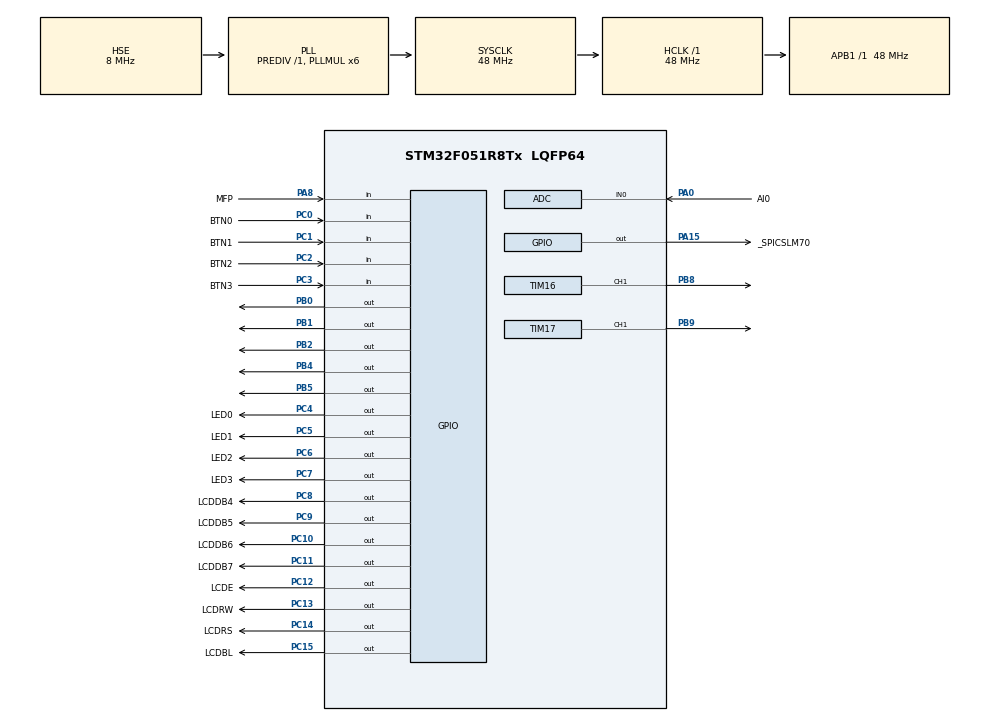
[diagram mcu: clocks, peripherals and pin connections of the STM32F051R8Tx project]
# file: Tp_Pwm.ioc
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Mcu.Family=STM32F0
Mcu.Name=STM32F051R8Tx
Mcu.Package=LQFP64
PA0.GPIO_Label=AI0
PA0.Mode=IN0
PA0.Signal=ADC_IN0
PA10.GPIO_Label=USART1RX
PA10.Signal=USART1_RX
PA11.GPIO_Label=USART1CTS
PA11.Signal=USART1_CTS
PA12.GPIO_Label=USART1RTS
PA12.Signal=USART1_RTS
PA13.Mode=Serial_Wire
PA13.Signal=SYS_SWDIO
PA14.Mode=Serial_Wire
PA14.Signal=SYS_SWCLK
PA15.GPIO_Label=_SPICSLM70
PA15.PinState=GPIO_PIN_SET
PA15.Signal=GPIO_Output
PA5.GPIO_Label=SPISCK
PA5.Signal=SPI1_SCK
PA6.GPIO_Label=SPIMISO
PA6.Signal=SPI1_MISO
PA7.GPIO_Label=SPIMOSI
PA7.Signal=SPI1_MOSI
PA8.GPIO_Label=MFP
PA8.Signal=GPIO_Input
PA9.GPIO_Label=USART1TX
PA9.Signal=USART1_TX
PB0.Signal=GPIO_Output
PB1.Signal=GPIO_Output
PB2.Signal=GPIO_Output
PB4.Signal=GPIO_Output
PB5.Signal=GPIO_Output
PB8.Signal=S_TIM16_CH1
PB9.Signal=S_TIM17_CH1
PC0.GPIO_Label=BTN0
PC0.Signal=GPIO_Input
PC1.GPIO_Label=BTN1
PC1.Signal=GPIO_Input
PC10.GPIO_Label=LCDDB6
PC10.Signal=GPIO_Output
PC11.GPIO_Label=LCDDB7
PC11.Signal=GPIO_Output
PC12.GPIO_Label=LCDE
PC12.Signal=GPIO_Output
PC13.GPIO_Label=LCDRW
PC13.Signal=GPIO_Output
PC14-OSC32_IN.GPIO_Label=LCDRS
PC14-OSC32_IN.Signal=GPIO_Output
PC15-OSC32_OUT.GPIO_Label=LCDBL
PC15-OSC32_OUT.Signal=GPIO_Output
PC2.GPIO_Label=BTN2
PC2.Signal=GPIO_Input
PC3.GPIO_Label=BTN3
PC3.Signal=GPIO_Input
PC4.GPIO_Label=LED0
PC4.PinState=GPIO_PIN_SET
PC4.Signal=GPIO_Output
PC5.GPIO_Label=LED1
PC5.PinState=GPIO_PIN_SET
PC5.Signal=GPIO_Output
PC6.GPIO_Label=LED2
PC6.PinState=GPIO_PIN_SET
PC6.Signal=GPIO_Output
PC7.GPIO_Label=LED3
PC7.PinState=GPIO_PIN_SET
PC7.Signal=GPIO_Output
PC8.GPIO_Label=LCDDB4
PC8.Signal=GPIO_Output
PC9.GPIO_Label=LCDDB5
PC9.Signal=GPIO_Output
PF0-OSC_IN.GPIO_Label=OSCIN
PF0-OSC_IN.Mode=HSE-External-Oscillator
PF0-OSC_IN.Signal=RCC_OSC_IN
PF1-OSC_OUT.GPIO_Label=OSCOUT
PF1-OSC_OUT.Mode=HSE-External-Oscillator
PF1-OSC_OUT.Signal=RCC_OSC_OUT
PF6.Signal=I2C2_SCL
PF7.Signal=I2C2_SDA
ProjectManager.HeapSize=0x200
ProjectManager.StackSize=0x400
ProjectManager.TargetToolchain=MDK-ARM V5
RCC.AHBFreq_Value=48000000
RCC.APB1Freq_Value=48000000
RCC.APB1TimFreq_Value=48000000
RCC.EnbaleCSS=true
RCC.HCLKFreq_Value=48000000
RCC.PLLMUL=RCC_PLL_MUL6
RCC.PLLSourceVirtual=RCC_PLLSOURCE_HSE
RCC.SYSCLKFreq_VALUE=48000000
RCC.SYSCLKSource=RCC_SYSCLKSOURCE_PLLCLK
SH.S_TIM16_CH1.0=TIM16_CH1,PWM Generation1 CH1
SH.S_TIM17_CH1.0=TIM17_CH1,PWM Generation1 CH1
TIM16.Channel=TIM_CHANNEL_1
TIM16.Period=299
TIM16.Prescaler=431
TIM17.Channel=TIM_CHANNEL_1
TIM17.Period=299
TIM17.Prescaler=431
TIM6.Period=999
TIM6.Prescaler=47
VP_TIM16_VS_ClockSourceINT.Mode=Enable_Timer
VP_TIM17_VS_ClockSourceINT.Mode=Enable_Timer
VP_TIM6_VS_ClockSourceINT.Mode=Enable_Timer
board=test01_blink

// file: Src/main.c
/* USER CODE BEGIN Header */
/**
  ******************************************************************************
  * @file           : main.c
  * @brief          : Main program body
  ******************************************************************************
  * @attention
  *
  * <h2><center>&copy; Copyright (c) 2020 STMicroelectronics.
  * All rights reserved.</center></h2>
  *
  * This software component is licensed by ST under BSD 3-Clause license,
  * the "License"; You may not use this file except in compliance with the
  * License. You may obtain a copy of the License at:
  *                        opensource.org/licenses/BSD-3-Clause
  * Date: 07.05.25
	* Auther: Henri Mott
	* Date modif�: 07.05.25
	*
  ******************************************************************************
  */
/* USER CODE END Header */
#include "main.h"
#include "adc.h"
#include "tim.h"
#include "gpio.h"

/* USER CODE BEGIN Includes */

#include "17400.h"
#include "stm32delays.h"
#include "stm32driverlcd.h"

/* USER CODE END Includes */

/* USER CODE BEGIN PV */
uint32_t led_counter = 0;  // Counter for LED blinking
uint8_t motor_direction = 0;  // 0 = forward, 1 = reverse
uint8_t motor_enabled = 0;    // 0 = disabled, 1 = enabled
/* USER CODE END PV */

void SystemClock_Config(void);
/* USER CODE BEGIN PFP */
//void motor_enable(void);
//void motor_set_direction(uint8_t direction);
//void motor_control(uint8_t Btn1, uint8_t Btn1_old, uint8_t Btn2, uint8_t Btn2_old);
uint8_t calculate_pwm_percentage(uint16_t adc_value);
/* USER CODE END PFP */

/* USER CODE BEGIN 0 */

// Timer 6 period elapsed callback
void HAL_TIM_PeriodElapsedCallback(TIM_HandleTypeDef *htim)
{
    if (htim->Instance == TIM6)
    {
        led_counter++;
        if(led_counter >= 500)  // Toggle every 500ms for visible blinking
        {
            HAL_GPIO_TogglePin(LED0_PORT, LED0_BIT);
            led_counter = 0;
        }
    }
}

// *** ADC ***
//**************************************************************
// Description : Lecture AD
// Paramètres d'entrée :
// N° du canal à lire
// Paramètres de sortie :
// Valeure lue en LSB
//**************************************************************
// Lecture d'un canal AD par polling
// Il faut auparavant avoir configur� la/les pin(s) concern�e(s) en entr�e analogique
uint16_t Adc_read(uint8_t chNr)
{
	  uint16_t ValRetour;
		hadc.Instance->CHSELR = ADC_CHSELR_CHANNEL(chNr);

		HAL_ADC_Start(&hadc);
		HAL_ADC_PollForConversion(&hadc, HAL_MAX_DELAY);
		ValRetour = HAL_ADC_GetValue(&hadc);
		HAL_ADC_Stop(&hadc);
		return(ValRetour);
}

// ----------------------------------------------------------------

// ----------------------------------------------------------------
	// *** A COMPLETER ! ***
	// Mettez vos fonctions ici...

// ----------------------------------------------------------------

/* USER CODE END 0 */

int main(void)
{
  /* USER CODE BEGIN 1 */
	//variables
	// *** A COMPLETER ! ***
	uint8_t duty_cycle = 200;  // Set to 150 for a more visible PWM (50%)

	// Variables for button states
	uint8_t Btn0;           // Current state of button 0
	uint8_t Btn0_Old;       // Previous state of button 0
	uint8_t Btn1;           // Current state of button 1
	uint8_t Btn1_Old;       // Previous state of button 1
	uint8_t Btn2;           // Current state of button 2
	uint8_t Btn2_Old;       // Previous state of button 2
	uint8_t Btn3;           // Current state of button 2
	uint8_t Btn3_Old;       // Previous state of button 2
	uint8_t fine_mode;			// For the mode of incrementation
	uint16_t current_angle = 0;
	uint16_t pwm_value = 0;
//	uint8_t current_angle = 0;
//	uint8_t pwm_value = 0;
	uint8_t Max_angle = 90;
	// *** A COMPLETER ! ***

  /* USER CODE END 1 */

  /* MCU Configuration--------------------------------------------------------*/

  /* Reset of all peripherals, Initializes the Flash interface and the Systick. */
  HAL_Init();

  /* Configure the system clock */
  SystemClock_Config();

  /* Initialize all configured peripherals */
  MX_GPIO_Init();
  MX_TIM6_Init();
  MX_TIM16_Init();
  MX_ADC_Init();
  MX_TIM17_Init();
  /* USER CODE BEGIN 2 */
	lcd_init();
	// Start timers
	HAL_TIM_Base_Start_IT(&htim6);  //Start Timer 6 for LED blinking
	HAL_TIM_PWM_Start(&htim16, TIM_CHANNEL_1); //Start Timer 16 PWM on PB8
	HAL_TIM_PWM_Start(&htim17, TIM_CHANNEL_1); //Start Timer 16 PWM on PB8

  /* USER CODE END 2 */

  /* Infinite loop */
  while (1)
  {

    /* USER CODE BEGIN 3 */
		//lcd_b1_on();

		// Read current button states
		Btn0 = HAL_GPIO_ReadPin(BTN0_PORT, BTN0_BIT);
		Btn1 = HAL_GPIO_ReadPin(BTN1_PORT, BTN1_BIT);
		Btn2 = HAL_GPIO_ReadPin(BTN2_PORT, BTN2_BIT);
		Btn3 = HAL_GPIO_ReadPin(BTN3_PORT, BTN3_BIT);

		__HAL_TIM_SET_COMPARE(&htim16, TIM_CHANNEL_1, duty_cycle);  // Set PWM duty cycle for motor
		//__HAL_TIM_SET_COMPARE(&htim17, TIM_CHANNEL_1, duty_cycle);  // Set PWM duty cycle for servo

		// Partie ADC
		uint16_t adc_value = Adc_read(0);  // Reads the direct value of are ADC
		//duty_cycle = scale_adc_to_servo(adc_value);  // Scale ADC to servo range
		uint8_t pwm_percentage = calculate_pwm_percentage(adc_value);

		// ---Partie pour le servo--- //
		// Btn1 décrémente l’angle
    if((Btn0 != Btn0_Old) && (Btn0 == 0))  // Button 0 pressed (active low)
    {
			// test what mode we are in
			if(fine_mode == 0)
			{
				fine_mode = 1;
				HAL_GPIO_WritePin(LED0_PORT, LED0_BIT, GPIO_PIN_RESET);	// Turn led 0 on GPIO_PIN_SET GPIO_PIN_RESET
			}
			else
			{
				fine_mode = 0;
				HAL_GPIO_WritePin(LED0_PORT, LED0_BIT, GPIO_PIN_SET);	// Turn led 0 on GPIO_PIN_SET GPIO_PIN_RESET
			}

    }

		// Btn1 décrémente l’angle
    if((Btn1 != Btn1_Old) && (Btn1 == 0))  // Button 1 pressed (active low)
    {
			if((fine_mode == 1) && (current_angle > 0))
			{
					current_angle -= 1;   // Fine mode: 1 degree
			}
			else if(current_angle >= 10)
			{
					current_angle -= 10;  // Coarse mode: 45 degrees
			}
			else
			{
				current_angle = 0;
			}

			// Keep within valid range
//			if(current_angle <= -90)
//			{
//				current_angle = 0;
//			}
    }

		// Btn2 incrémente l’angle
		if((Btn2 != Btn2_Old) && (Btn2 == 0))  // Button 1 pressed (active low)
    {
			if((fine_mode == 1) && (current_angle < Max_angle))
			{
					current_angle += 1;   // Fine mode: 1 degree
			}
			else if(current_angle <= 90)
			{
					current_angle += 10;  // Coarse mode: 45 degrees
			}
			else
			{
				current_angle = 90;
			}
			// Keep within valid range
//			if(current_angle >= Max_angle)
//			{
//				current_angle = Max_angle;
//			}
    }

		// Btn3 remet l’angle à 0°
		if((Btn3 != Btn3_Old) && (Btn3 == 0))  // Button 1 pressed (active low)
    {
					current_angle = 0;  // Coarse mode: 45 degrees
    }

		// Il faut la remetre dans le correct format

		//current_angle = (current_angle * 4095) / 100;
		// Convert angle (-180 to +180) to PWM value (1000 to 2000)s
//    pwm_value = 1500 + (current_angle * 500 / 180);
//
//    __HAL_TIM_SET_COMPARE(&htim17, TIM_CHANNEL_1, pwm_value);
		uint16_t scaled_pwm_value = (pwm_value * htim17.Init.Period) / 2000;
		__HAL_TIM_SET_COMPARE(&htim17, TIM_CHANNEL_1, scaled_pwm_value);

		//lcd_clearLine(1);
		lcd_gotoxy(1,2);
		printf_lcd("pwm_value: %d ", pwm_value);
		lcd_gotoxy(1,1);
		printf_lcd("pwm: %d, CCR1: %d\n", pwm_value, __HAL_TIM_GET_COMPARE(&htim17, TIM_CHANNEL_1));
//		//lcd_clearLine(2);
//		lcd_gotoxy(1,2);
//		printf_lcd("PWM: %d%% ", pwm_percentage);
//		lcd_gotoxy(1,3);
//		printf_lcd("Angle: %d ", current_angle);
		//printf_lcd("Duty: %d ", duty_cycle);
		//lcd_clearLine(1);

		// ---Partie pour le moteur--- //
		// Motor control section
		//motor_control(Btn1, Btn1_Old, Btn2, Btn2_Old);

		// Update previous button states
		Btn0_Old = Btn0;
		Btn1_Old = Btn1;
		Btn2_Old = Btn2;
		Btn3_Old = Btn3;
  }
  /* USER CODE END 3 */
}

void SystemClock_Config(void)
{
  RCC_OscInitTypeDef RCC_OscInitStruct = {0};
  RCC_ClkInitTypeDef RCC_ClkInitStruct = {0};

  /** Initializes the RCC Oscillators according to the specified parameters
  * in the RCC_OscInitTypeDef structure.
  */
  RCC_OscInitStruct.OscillatorType = RCC_OSCILLATORTYPE_HSI14|RCC_OSCILLATORTYPE_HSE;
  RCC_OscInitStruct.HSEState = RCC_HSE_ON;
  RCC_OscInitStruct.HSI14State = RCC_HSI14_ON;
  RCC_OscInitStruct.HSI14CalibrationValue = 16;
  RCC_OscInitStruct.PLL.PLLState = RCC_PLL_ON;
  RCC_OscInitStruct.PLL.PLLSource = RCC_PLLSOURCE_HSE;
  RCC_OscInitStruct.PLL.PLLMUL = RCC_PLL_MUL6;
  RCC_OscInitStruct.PLL.PREDIV = RCC_PREDIV_DIV1;
  if (HAL_RCC_OscConfig(&RCC_OscInitStruct) != HAL_OK)
  {
    Error_Handler();
  }
  /** Initializes the CPU, AHB and APB buses clocks
  */
  RCC_ClkInitStruct.ClockType = RCC_CLOCKTYPE_HCLK|RCC_CLOCKTYPE_SYSCLK
                              |RCC_CLOCKTYPE_PCLK1;
  RCC_ClkInitStruct.SYSCLKSource = RCC_SYSCLKSOURCE_PLLCLK;
  RCC_ClkInitStruct.AHBCLKDivider = RCC_SYSCLK_DIV1;
  RCC_ClkInitStruct.APB1CLKDivider = RCC_HCLK_DIV1;

  if (HAL_RCC_ClockConfig(&RCC_ClkInitStruct, FLASH_LATENCY_1) != HAL_OK)
  {
    Error_Handler();
  }
  /** Enables the Clock Security System
  */
  HAL_RCC_EnableCSS();
}

/* USER CODE BEGIN 4 */

// ----------------------------------------------------------------
// *** Motor Control Functions ***
//void motor_enable(void)
//{
//    if(motor_enabled == 0)
//    {
//        HAL_GPIO_WritePin(GPIOB, GPIO_PIN_2, GPIO_PIN_RESET);  // Enable motor driver (nSLEEP active low)
//        HAL_GPIO_WritePin(LED1_PORT, LED1_BIT, GPIO_PIN_SET);  // Turn LED1 off
//        motor_enabled = 1;
//    }
//    else
//    {
//        HAL_GPIO_WritePin(GPIOB, GPIO_PIN_2, GPIO_PIN_SET);    // Disable motor driver
//        HAL_GPIO_WritePin(LED1_PORT, LED1_BIT, GPIO_PIN_RESET); // Turn LED1 on
//        motor_enabled = 0;
//    }
//}

//void motor_set_direction(uint8_t direction)
//{
//    if(direction == 0)  // Forward
//    {
//        HAL_GPIO_WritePin(GPIOB, GPIO_PIN_4, GPIO_PIN_SET);   // IN1 high
//    }
//    else  // Reverse
//    {
//        HAL_GPIO_WritePin(GPIOB, GPIO_PIN_4, GPIO_PIN_RESET); // IN1 low
//    }
//    motor_direction = direction;
//}

//void motor_control(uint8_t Btn1, uint8_t Btn1_old, uint8_t Btn2, uint8_t Btn2_old)
//{
//    // Motor Enable/Disable control
//    if((Btn1 != Btn1_old) && (Btn1 == 0))  // Button 1 pressed (active low)
//    {
//        motor_enable();  // Toggle motor enable state
//    }
//
//    // Motor Direction control
//    if((Btn2 != Btn2_old) && (Btn2 == 0))  // Button 2 pressed (active low)
//    {
//        if(motor_direction == 0)
//        {
//            motor_set_direction(1);  // Change to reverse
//            HAL_GPIO_WritePin(LED2_PORT, LED2_BIT, GPIO_PIN_SET);    // Turn LED2 off
//        }
//        else
//        {
//            motor_set_direction(0);  // Change to forward
//            HAL_GPIO_WritePin(LED2_PORT, LED2_BIT, GPIO_PIN_RESET);  // Turn LED2 on
//        }
//    }
//}

uint8_t calculate_pwm_percentage(uint16_t adc_value)
{
    // ADC value is 0-4095 (12-bit ADC)
    // Convert to percentage (0-100)
    uint8_t percentage = (adc_value * 100) / 4095;
    return percentage;
}

/* USER CODE END 4 */

void Error_Handler(void)
{
}

/************************ (C) COPYRIGHT STMicroelectronics *****END OF FILE****/
